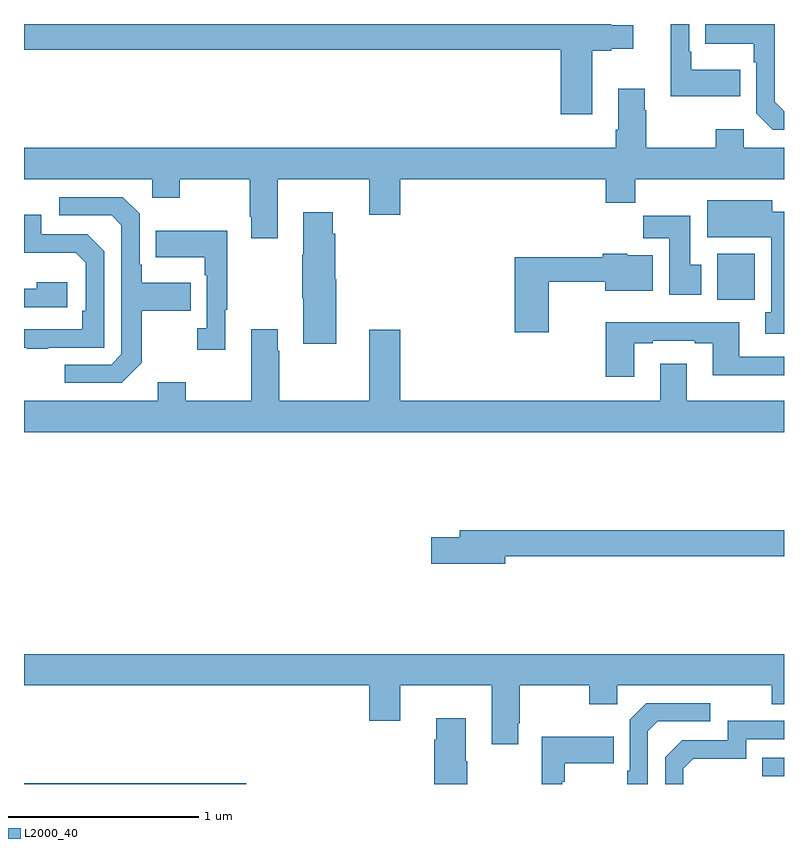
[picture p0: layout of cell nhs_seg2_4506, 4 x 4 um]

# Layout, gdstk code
import gdstk
lib = gdstk.Library(unit=1e-6, precision=1e-09)
def R(c, l, rs):  # rectangles x0, y0, x1, y1
    for r in rs: c.add(gdstk.rectangle(r[:2], r[2:], *l))
def P(c, l, *ps):  # polygons
    for p in ps: c.add(gdstk.Polygon(p, *l))
L2000_40 = (2000, 40)

nhs_seg2_4506 = lib.new_cell('nhs_seg2_4506')
R(nhs_seg2_4506, L2000_40, [(355,629.8,356.17,629.804), (358.885,629.841,359,629.937), (358.649,632.348,358.846,632.59)])
P(nhs_seg2_4506, L2000_40, [(359,633.34),(358.95,633.39),(358.95,633.8),(358.585,633.8),(358.585,633.695),(358.842,633.695),(358.842,633.599),(358.854,633.599),(358.854,633.33),(358.941,633.243),(359,633.243)],
  [(358.769,633.559),(358.513,633.559),(358.513,633.655),(358.5,633.655),(358.5,633.8),(358.403,633.8),(358.403,633.419),(358.769,633.419)],
  [(357.991,633.659),(358.091,633.659),(358.091,633.671),(358.207,633.671),(358.207,633.793),(358.091,633.793),(358.091,633.8),(355,633.8),(355,633.664),(357.824,633.664),(357.824,633.324),(357.991,633.324)],
  [(356.335,632.984),(356.816,632.984),(356.816,632.796),(356.98,632.796),(356.98,632.984),(358.061,632.984),(358.061,632.86),(358.217,632.86),(358.217,632.984),(359,632.984),(359,633.148),(358.788,633.148),(358.788,633.247),(358.642,633.247),(358.642,633.148),(358.275,633.148),(358.275,633.347),(358.267,633.347),(358.267,633.46),(358.127,633.46),(358.127,633.244),(358.115,633.244),(358.115,633.148),(355,633.148),(355,632.984),(355.674,632.984),(355.674,632.885),(355.821,632.885),(355.821,632.984),(356.188,632.984),(356.188,632.785),(356.195,632.785),(356.195,632.673),(356.335,632.673)],
  [(355.621,632.017),(355.621,632.29),(355.877,632.29),(355.877,632.437),(355.621,632.437),(355.621,632.533),(355.608,632.533),(355.608,632.802),(355.521,632.889),(355.185,632.889),(355.185,632.793),(355.461,632.793),(355.512,632.742),(355.512,632.061),(355.458,632.007),(355.215,632.007),(355.215,631.911),(355.515,631.911)],
  [(359,632.812),(358.939,632.812),(358.939,632.872),(358.595,632.872),(358.595,632.678),(358.934,632.678),(358.934,632.282),(358.901,632.282),(358.901,632.169),(359,632.169)],
  [(356.644,632.457),(356.639,632.457),(356.639,632.696),(356.626,632.696),(356.626,632.809),(356.471,632.809),(356.471,632.585),(356.464,632.585),(356.464,632.357),(356.471,632.357),(356.471,632.117),(356.644,632.117)],
  [(355.127,632.097),(355.422,632.097),(355.422,632.604),(355.332,632.694),(355.092,632.694),(355.092,632.796),(355,632.796),(355,632.597),(355.273,632.597),(355.326,632.544),(355.326,632.29),(355.306,632.29),(355.306,632.193),(355,632.193),(355,632.097),(355.015,632.097),(355.015,632.092),(355.127,632.092)],
  [(358.564,632.532),(358.507,632.532),(358.507,632.79),(358.258,632.79),(358.258,632.672),(358.397,632.672),(358.397,632.376),(358.564,632.376)],
  [(356.059,632.297),(356.071,632.297),(356.071,632.713),(355.693,632.713),(355.693,632.573),(355.95,632.573),(355.95,632.477),(355.962,632.477),(355.962,632.198),(355.911,632.198),(355.911,632.085),(356.059,632.085)],
  [(357.762,632.443),(358.058,632.443),(358.058,632.396),(358.309,632.396),(358.309,632.584),(358.176,632.584),(358.176,632.59),(358.046,632.59),(358.046,632.572),(357.584,632.572),(357.584,632.178),(357.762,632.178)],
  [(355.228,632.44),(355.067,632.44),(355.067,632.406),(355,632.406),(355,632.31),(355.228,632.31)],
  [(358.213,632.121),(358.309,632.121),(358.309,632.133),(358.529,632.133),(358.529,632.121),(358.625,632.121),(358.625,631.952),(359,631.952),(359,632.049),(358.765,632.049),(358.765,632.23),(358.061,632.23),(358.061,631.944),(358.213,631.944)],
  [(359,631.816),(358.489,631.816),(358.489,632.011),(358.349,632.011),(358.349,631.816),(356.98,631.816),(356.98,632.191),(356.816,632.191),(356.816,631.816),(356.343,631.816),(356.343,632.081),(356.335,632.081),(356.335,632.194),(356.195,632.194),(356.195,631.816),(355.851,631.816),(355.851,631.915),(355.703,631.915),(355.703,631.816),(355,631.816),(355,631.652),(359,631.652)],
  [(357.532,631),(359,631),(359,631.136),(357.293,631.136),(357.293,631.1),(357.144,631.1),(357.144,630.958),(357.532,630.958)],
  [(357.601,630.121),(357.609,630.121),(357.609,630.32),(357.976,630.32),(357.976,630.221),(358.122,630.221),(358.122,630.32),(358.936,630.32),(358.936,630.221),(359,630.221),(359,630.484),(355,630.484),(355,630.32),(356.816,630.32),(356.816,630.132),(356.98,630.132),(356.98,630.32),(357.461,630.32),(357.461,630.009),(357.601,630.009)],
  [(358.284,630.078),(358.335,630.129),(358.612,630.129),(358.612,630.225),(358.275,630.225),(358.188,630.138),(358.188,629.869),(358.176,629.869),(358.176,629.8),(358.284,629.8)],
  [(357.333,629.921),(357.325,629.921),(357.325,630.145),(357.17,630.145),(357.17,630.032),(357.158,630.032),(357.158,629.8),(357.333,629.8)],
  [(358.47,629.88),(358.523,629.933),(358.8,629.933),(358.8,630.036),(359,630.036),(359,630.132),(358.704,630.132),(358.704,630.03),(358.464,630.03),(358.374,629.94),(358.374,629.8),(358.47,629.8)],
  [(357.834,629.813),(357.847,629.813),(357.847,629.909),(358.103,629.909),(358.103,630.049),(357.726,630.049),(357.726,629.8),(357.834,629.8)])

lib.write_gds('nhs_seg2_4506.gds')
